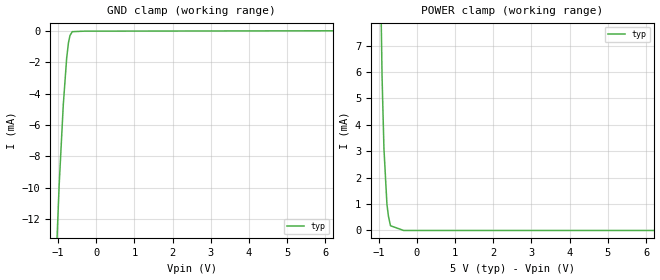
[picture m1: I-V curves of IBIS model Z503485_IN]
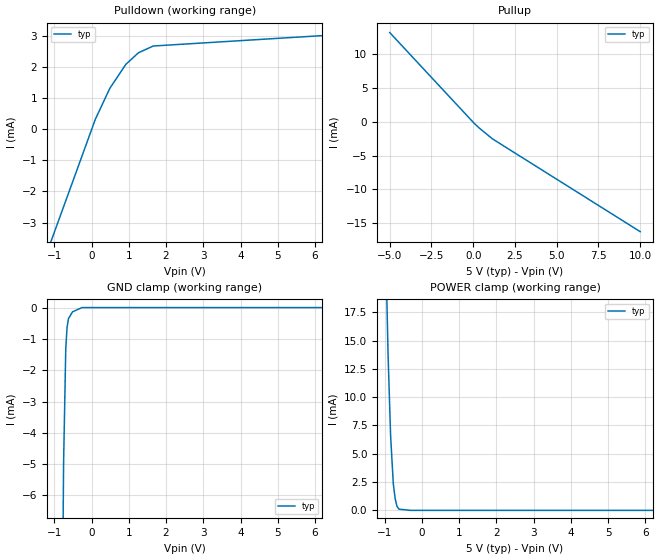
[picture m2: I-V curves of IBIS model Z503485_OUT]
| YOU ARE ONLY AUTHORIZED TO USE THIS SOFTWARE
| ACCORDING TO LICENSOR'S LICENSE RESTRICTIONS.
[IBIS Ver] 3.1
[File Name] mc14017bcl.ibs
[File Rev] 2.0
[Source] Measured and created by ICX Technology
[Date] Friday 7/14/00 9:07:51 AM
[Copyright]
| (C) COPYRIGHT 1993-2000
| MENTOR GRAPHICS CORPORATION
| ICX STANDARD LIBRARY, ICX PROJECT MODELING,
| ICX CUSTOM MODELING, ICX VENDOR MODEL
| ALL RIGHTS RESERVED.
| THE FOLLOWING ARE TRADEMARKS OR SERVICE MARKS OF
| MENTOR GRAPHICS CORPORATION:ICX (R), ICX STANDARD
| LIBRARY(R), ICX PROJECT MODELING(R), ICX CUSTOM
| MODELING(R), qualityIBIS(TM), MODELVIEWER(TM),
| AND MODELEDITOR(TM)
| ALL COPIES OF SOFTWARE, INCLUDING BUT NOT LIMITED TO
| ANY MODIFICATIONS, ENHANCEMENTS OR DERIVATIVE WORKS,
| MUST CONTAIN ALL MENTOR GRAPHICS CORPORATION'S
| NOTICES AND LEGENDS, INCLUDING THOSE EMBEDDED IN
| SOFTWARE AND THOSE AFFIXED TO SOFTWARE MEDIUM
| AND CONTAINER, AS RECEIVED FROM MENTOR GRAPHICS
| CORPORATION.
|  ZAP Model Builder 2.7
[Component] MC14017BCL
[Manufacturer] OnSemiconductor
[Package]
| variable   typ   min   max
R_pkg  .212ohms NA NA
L_pkg  4.758nH NA NA
C_pkg  1.944pF NA NA
[Pin] signal_name  model_name  R_pin  L_pin C_pin
1 Q5 Z503485_OUT .224 7.258n 2.683p
2 Q1 Z503485_OUT .216 5.258n 2.19p
3 Q0 Z503485_OUT .208 3.758n 1.697p
4 Q2 Z503485_OUT .2 2.758n 1.204p
5 Q6 Z503485_OUT .2 2.758n 1.204p
6 Q7 Z503485_OUT .208 3.758n 1.697p
7 Q3 Z503485_OUT .216 5.258n 2.19p
8 VSS GND .224 7.258n 2.683p
9 Q8 Z503485_OUT .224 7.258n 2.683p
10 Q4 Z503485_OUT .216 5.258n 2.19p
11 Q9 Z503485_OUT .208 3.758n 1.697p
12 COUT Z503485_OUT .2 2.758n 1.204p
13 _CE Z503485_IN .2 2.758n 1.204p
14 CLK Z503485_IN .208 3.758n 1.697p
15 RESET Z503485_IN .216 5.258n 2.19p
16 VDD POWER .224 7.258n 2.683p
| Models and submodels in the file (2): Z503485_IN (Input), Z503485_OUT (Output)
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| (C) COPYRIGHT 1993-2000
| MENTOR GRAPHICS CORPORATION
| ICX STANDARD LIBRARY, ICX PROJECT MODELING,
| ICX CUSTOM MODELING, ICX VENDOR MODEL
| ALL RIGHTS RESERVED.
| THE FOLLOWING ARE TRADEMARKS OR SERVICE MARKS OF
| MENTOR GRAPHICS CORPORATION:ICX (R), ICX STANDARD
| LIBRARY(R), ICX PROJECT MODELING(R), ICX CUSTOM
| MODELING(R), qualityIBIS(TM), MODELVIEWER(TM),
| AND MODELEDITOR(TM)
| ALL COPIES OF SOFTWARE, INCLUDING BUT NOT LIMITED TO
| ANY MODIFICATIONS, ENHANCEMENTS OR DERIVATIVE WORKS,
| MUST CONTAIN ALL MENTOR GRAPHICS CORPORATION'S
| NOTICES AND LEGENDS, INCLUDING THOSE EMBEDDED IN
| SOFTWARE AND THOSE AFFIXED TO SOFTWARE MEDIUM
| AND CONTAINER, AS RECEIVED FROM MENTOR GRAPHICS
| CORPORATION.
| Model Application Version 1.89 2/18/99.
[Model] Z503485_IN
Model_type Input
Vinl = 1.500V
Vinh = 3.500V
C_comp 4.000pF NA NA
| variable typ   min   max
[Voltage Range] 5.000V NA NA
[GND Clamp Reference] 0.000V NA NA
[POWER Clamp Reference] 5.000V NA NA
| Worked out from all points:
|   GND clamp passes 1 mA (typ) near -0.74 V on its own axis
|   POWER clamp passes 1 mA (typ) near -0.78 V on its own axis
[GND Clamp]
-5V       -463.8mA   NA         NA
-1.226V   -29.57mA   NA         NA
-1.055V   -15.17mA   NA         NA
-966.8mV  -9.79mA    NA         NA
-859.2mV  -4.695mA   NA         NA
-771.4mV  -1.73mA    NA         NA
-722.6mV  -725.1uA   NA         NA
-683.6mV  -286.8uA   NA         NA
-625.2mV  -45.24uA   NA         NA
-312.6mV  -12.22uA   NA         NA
10V       25.62uA    NA         NA
[POWER Clamp]
-5V       680.2mA    NA         NA
-1.172V   37.22mA    NA         NA
-1.031V   17.61mA    NA         NA
-908mV    5.824mA    NA         NA
-859mV    3.111mA    NA         NA
-781mV    1.001mA    NA         NA
-742mV    545.4uA    NA         NA
-688mV    179.9uA    NA         NA
-344mV    0A         NA         NA
10V       0A         NA         NA
| (C) COPYRIGHT 1993-2000
| MENTOR GRAPHICS CORPORATION
| ICX STANDARD LIBRARY, ICX PROJECT MODELING,
| ICX CUSTOM MODELING, ICX VENDOR MODEL
| ALL RIGHTS RESERVED.
| THE FOLLOWING ARE TRADEMARKS OR SERVICE MARKS OF
| MENTOR GRAPHICS CORPORATION:ICX (R), ICX STANDARD
| LIBRARY(R), ICX PROJECT MODELING(R), ICX CUSTOM
| MODELING(R), qualityIBIS(TM), MODELVIEWER(TM),
| AND MODELEDITOR(TM)
| ALL COPIES OF SOFTWARE, INCLUDING BUT NOT LIMITED TO
| ANY MODIFICATIONS, ENHANCEMENTS OR DERIVATIVE WORKS,
| MUST CONTAIN ALL MENTOR GRAPHICS CORPORATION'S
| NOTICES AND LEGENDS, INCLUDING THOSE EMBEDDED IN
| SOFTWARE AND THOSE AFFIXED TO SOFTWARE MEDIUM
| AND CONTAINER, AS RECEIVED FROM MENTOR GRAPHICS
| CORPORATION.
| Model Application Version 1.89 2/18/99.
[Model] Z503485_OUT
Model_type Output
Vref=0.000V
Rref=500.0Mohms
Cref=50.00pF
Vmeas=2.500V
C_comp 8.000pF NA NA
| variable typ   min   max
[Voltage Range] 5.000V NA NA
[POWER Clamp Reference] 5.000V NA NA
[Pullup Reference] 5.000V NA NA
[Pulldown Reference] 0.000V NA NA
[GND Clamp Reference] 0.000V NA NA
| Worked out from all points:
|   slope of the pulldown table from 0 to 0.75 V, typ, clamps not added: 419 ohm
|   slope of the pullup table from 0 to 0.75 V, typ, clamps not added: 459 ohm
|   GND clamp passes 1 mA (typ) near -0.68 V on its own axis
|   POWER clamp passes 1 mA (typ) near -0.72 V on its own axis
[GND Clamp]
-5V       -650.3mA   NA         NA
-752mV    -4.982mA   NA         NA
-693.4mV  -1.315mA   NA         NA
-658.8mV  -635.6uA   NA         NA
-621.7mV  -356.7uA   NA         NA
-512.4mV  -136.3uA   NA         NA
-256.2mV  0A         NA         NA
10V       0A         NA         NA
[Pulldown]
-5V       -16.47mA   NA         NA
103.3mV   324.4uA    NA         NA
493.2mV   1.317mA    NA         NA
922.8mV   2.084mA    NA         NA
1.26V     2.453mA    NA         NA
1.657V    2.669mA    NA         NA
10V       3.282mA    NA         NA
[Pullup]
-5V       13.15mA    NA         NA
44mV      -206.5uA   NA         NA
357mV     -932.3uA   NA         NA
1.159V    -2.55mA    NA         NA
10V       -16.23mA   NA         NA
[POWER Clamp]
-5V       634.1mA    NA         NA
-908mV    13.78mA    NA         NA
-840mV    6.621mA    NA         NA
-767mV    2.349mA    NA         NA
-718mV    1.039mA    NA         NA
-669mV    366.1uA    NA         NA
-615mV    106.1uA    NA         NA
-307.5mV  0A         NA         NA
10V       0A         NA         NA
[Ramp]
| variable typ min max
dV/dt_r 2.554/13.01n NA NA
dV/dt_f 2.554/13.21n NA NA
R_load = 2.500kOhms
